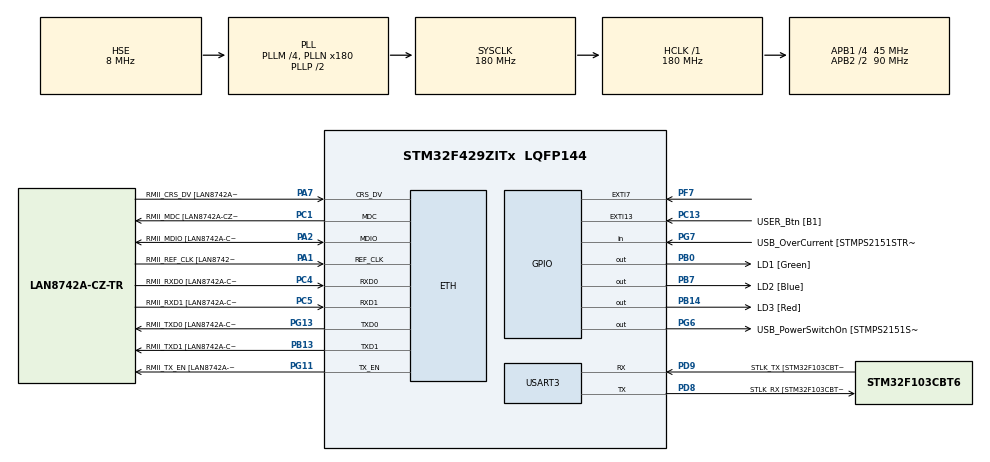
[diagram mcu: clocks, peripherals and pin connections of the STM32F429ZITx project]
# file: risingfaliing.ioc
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ETH.MediaInterface=HAL_ETH_RMII_MODE
ETH.PHY_Name=LAN8742A_PHY_ADDRESS
ETH.PHY_Value=0
ETH.PhyAddress=0
Mcu.Family=STM32F4
Mcu.Name=STM32F429ZITx
Mcu.Package=LQFP144
NVIC.EXTI9_5_IRQn=true\:0\:0\:false\:true\:true\:1\:true\:true\:true
NVIC.PriorityGroup=NVIC_PRIORITYGROUP_4
PA1.GPIO_Label=RMII_REF_CLK [LAN8742A-CZ-TR_REFCLK0]
PA1.Mode=RMII
PA1.Signal=ETH_REF_CLK
PA10.GPIO_Label=USB_ID
PA10.Signal=USB_OTG_FS_ID
PA11.GPIO_Label=USB_DM
PA11.Signal=USB_OTG_FS_DM
PA12.GPIO_Label=USB_DP
PA12.Signal=USB_OTG_FS_DP
PA13.GPIO_Label=TMS
PA13.Mode=Serial_Wire
PA13.Signal=SYS_JTMS-SWDIO
PA14.GPIO_Label=TCK
PA14.Mode=Serial_Wire
PA14.Signal=SYS_JTCK-SWCLK
PA2.GPIO_Label=RMII_MDIO [LAN8742A-CZ-TR_MDIO]
PA2.Mode=RMII
PA2.Signal=ETH_MDIO
PA7.GPIO_Label=RMII_CRS_DV [LAN8742A-CZ-TR_CRS_DV]
PA7.Mode=RMII
PA7.Signal=ETH_CRS_DV
PA8.GPIO_Label=USB_SOF [TP1]
PA8.Signal=USB_OTG_FS_SOF
PA9.GPIO_Label=USB_VBUS
PA9.Signal=USB_OTG_FS_VBUS
PB0.GPIO_Label=LD1 [Green]
PB0.Signal=GPIO_Output
PB13.GPIO_Label=RMII_TXD1 [LAN8742A-CZ-TR_TXD1]
PB13.Mode=RMII
PB13.Signal=ETH_TXD1
PB14.GPIO_Label=LD3 [Red]
PB14.Signal=GPIO_Output
PB7.GPIO_Label=LD2 [Blue]
PB7.Signal=GPIO_Output
PC1.GPIO_Label=RMII_MDC [LAN8742A-CZ-TR_MDC]
PC1.Mode=RMII
PC1.Signal=ETH_MDC
PC13.GPIO_Label=USER_Btn [B1]
PC13.GPIO_ModeDefaultEXTI=GPIO_MODE_IT_RISING
PC13.Signal=GPXTI13
PC14/OSC32_IN.Mode=LSE-External-Oscillator
PC14/OSC32_IN.Signal=RCC_OSC32_IN
PC15/OSC32_OUT.Mode=LSE-External-Oscillator
PC15/OSC32_OUT.Signal=RCC_OSC32_OUT
PC4.GPIO_Label=RMII_RXD0 [LAN8742A-CZ-TR_RXD0]
PC4.Mode=RMII
PC4.Signal=ETH_RXD0
PC5.GPIO_Label=RMII_RXD1 [LAN8742A-CZ-TR_RXD1]
PC5.Mode=RMII
PC5.Signal=ETH_RXD1
PD8.GPIO_Label=STLK_RX [STM32F103CBT6_PA3]
PD8.Mode=Asynchronous
PD8.Signal=USART3_TX
PD9.GPIO_Label=STLK_TX [STM32F103CBT6_PA2]
PD9.Mode=Asynchronous
PD9.Signal=USART3_RX
PF7.GPIO_ModeDefaultEXTI=GPIO_MODE_IT_RISING_FALLING
PF7.GPIO_PuPd=GPIO_PULLUP
PF7.Signal=GPXTI7
PG11.GPIO_Label=RMII_TX_EN [LAN8742A-CZ-TR_TXEN]
PG11.Mode=RMII
PG11.Signal=ETH_TX_EN
PG13.GPIO_Label=RMII_TXD0 [LAN8742A-CZ-TR_TXD0]
PG13.Mode=RMII
PG13.Signal=ETH_TXD0
PG6.GPIO_Label=USB_PowerSwitchOn [STMPS2151STR_EN]
PG6.Signal=GPIO_Output
PG7.GPIO_Label=USB_OverCurrent [STMPS2151STR_FAULT]
PG7.Signal=GPIO_Input
PH0/OSC_IN.GPIO_Label=MCO [STM32F103CBT6_PA8]
PH0/OSC_IN.Mode=HSE-External-Clock-Source
PH0/OSC_IN.Signal=RCC_OSC_IN
PH1/OSC_OUT.Mode=HSE-External-Clock-Source
PH1/OSC_OUT.Signal=RCC_OSC_OUT
ProjectManager.HeapSize=0x200
ProjectManager.StackSize=0x400
ProjectManager.TargetToolchain=STM32CubeIDE
RCC.48MHZClocksFreq_Value=51428571.428571425
RCC.AHBFreq_Value=180000000
RCC.APB1CLKDivider=RCC_HCLK_DIV4
RCC.APB1Freq_Value=45000000
RCC.APB1TimFreq_Value=90000000
RCC.APB2CLKDivider=RCC_HCLK_DIV2
RCC.APB2Freq_Value=90000000
RCC.APB2TimFreq_Value=180000000
RCC.CortexFreq_Value=180000000
RCC.HCLKFreq_Value=180000000
RCC.HSE_VALUE=8000000
RCC.HSI_VALUE=16000000
RCC.PLLM=4
RCC.PLLMUL=RCC_PLL_MUL9
RCC.PLLN=180
RCC.PLLQ=7
RCC.PLLSourceVirtual=RCC_PLLSOURCE_HSE
RCC.PRESCALERUSB=RCC_USBCLKSOURCE_PLL_DIV1_5
RCC.SYSCLKFreq_VALUE=180000000
RCC.SYSCLKSource=RCC_SYSCLKSOURCE_PLLCLK
RCC.SYSCLKSourceVirtual=RCC_SYSCLKSOURCE_PLLCLK
RCC.USBFreq_Value=48000000
RCC.VCOOutputFreq_Value=360000000
USART3.VirtualMode=VM_ASYNC
board=NUCLEO-F429ZI

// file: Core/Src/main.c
/* USER CODE BEGIN Header */
/**
  ******************************************************************************
  * @file           : main.c
  * @brief          : Main program body
  ******************************************************************************
  * @attention
  *
  * Copyright (c) 2023 STMicroelectronics.
  * All rights reserved.
  *
  * This software is licensed under terms that can be found in the LICENSE file
  * in the root directory of this software component.
  * If no LICENSE file comes with this software, it is provided AS-IS.
  *
  ******************************************************************************
  */
/* USER CODE END Header */
#include "main.h"
#include "string.h"
/* USER CODE BEGIN Includes */
#include "stdio.h"
/* USER CODE END Includes */

ETH_TxPacketConfig TxConfig;
ETH_DMADescTypeDef  DMARxDscrTab[ETH_RX_DESC_CNT]; /* Ethernet Rx DMA Descriptors */
ETH_DMADescTypeDef  DMATxDscrTab[ETH_TX_DESC_CNT]; /* Ethernet Tx DMA Descriptors */

ETH_HandleTypeDef heth;

UART_HandleTypeDef huart3;

/* USER CODE BEGIN PV */
int _write(int file, char* ptr, int len)
{
	HAL_UART_Transmit(&huart3, (uint8_t*)ptr, len, 500);
	return len;
}
/* USER CODE END PV */

void SystemClock_Config(void);
static void MX_GPIO_Init(void);
static void MX_ETH_Init(void);
static void MX_USART3_UART_Init(void);
static void MX_NVIC_Init(void);

/* USER CODE BEGIN 0 */
uint32_t ctime, ltime, interval;
uint32_t double_key_cnt;
int tmpcnt, click_flag, level;

enum CLICK_STATE {
	NO_CLICK,
	FIRST_PUSH,
	FIRST_PULL,
	SECOND_PUSH,
	SECOND_PULL
} current_state;
enum CLICK_STATE current_state = NO_CLICK;

void HAL_GPIO_EXTI_Callback(uint16_t GPIO_Pin)
{
	if (GPIO_Pin == GPIO_PIN_7) {
		level = HAL_GPIO_ReadPin(GPIOF, GPIO_PIN_7);
//		ctime = HAL_GetTick();
//		interval = ctime - ltime;
//		ltime = ctime;

//		if (interval < 100) {
//			double_key_cnt++;
//			printf("cnt = %d \t", double_key_cnt);
//		}

//		if (level == 1) {
//			printf("interval = %u", (unsigned int)interval);
//			if (double_key_cnt >= 3) {
//				printf("double~~~~~~~~~\r\n");
//				double_key_cnt = 0;
//			}
//			 if (interval >= 100 && interval <= 200) {
//				printf("One click \r\n");
//				double_key_cnt = 0;
//			}
//			else if (interval >= 700) {
//				printf("long \r\n");
//				double_key_cnt =0;
//			}
//		}
		if (level == 0 && (current_state == NO_CLICK || current_state == SECOND_PULL)) {
			current_state = FIRST_PUSH;
			ctime = HAL_GetTick();
			printf("first push \r\n");
		}
		else if (level == 1 && current_state == FIRST_PUSH) {
			current_state = FIRST_PULL;
			ltime = HAL_GetTick();
			if (ltime - ctime > 1000) {
				printf("Long click~~~~~~~~\r\n");
				current_state = NO_CLICK;
			}
			else {
				printf("first pull \r\n");
			}
		}
		else if (level == 0 && current_state == FIRST_PULL) {
			current_state = SECOND_PUSH;
			printf("second_push \r\n");
		}
		else if (level == 1 && current_state == SECOND_PUSH) {
			current_state = SECOND_PULL;
			printf("second_pull \r\n");
		}

	}
}

/* USER CODE END 0 */

int main(void)
{

  /* MCU Configuration--------------------------------------------------------*/

  /* Reset of all peripherals, Initializes the Flash interface and the Systick. */
  HAL_Init();

  /* Configure the system clock */
  SystemClock_Config();

  /* Initialize all configured peripherals */
  MX_GPIO_Init();
  MX_ETH_Init();
  MX_USART3_UART_Init();

  /* Initialize interrupts */
  MX_NVIC_Init();

  /* Infinite loop */
  /* USER CODE BEGIN WHILE */
  while (1)
  {
	  if (current_state == FIRST_PULL && (HAL_GetTick()-ltime) > 100) {
		  printf("one111111 \r\n");
		  current_state = NO_CLICK;
	  }
	  else if (current_state == SECOND_PUSH && (HAL_GetTick()-ltime) < 100) {
		  printf("doubleeeeeeee \r\n");
		  current_state = NO_CLICK;
	  }

    /* USER CODE END WHILE */

  }
}

void SystemClock_Config(void)
{
  RCC_OscInitTypeDef RCC_OscInitStruct = {0};
  RCC_ClkInitTypeDef RCC_ClkInitStruct = {0};

  /** Configure the main internal regulator output voltage
  */
  __HAL_RCC_PWR_CLK_ENABLE();
  __HAL_PWR_VOLTAGESCALING_CONFIG(PWR_REGULATOR_VOLTAGE_SCALE1);

  /** Initializes the RCC Oscillators according to the specified parameters
  * in the RCC_OscInitTypeDef structure.
  */
  RCC_OscInitStruct.OscillatorType = RCC_OSCILLATORTYPE_HSE;
  RCC_OscInitStruct.HSEState = RCC_HSE_BYPASS;
  RCC_OscInitStruct.PLL.PLLState = RCC_PLL_ON;
  RCC_OscInitStruct.PLL.PLLSource = RCC_PLLSOURCE_HSE;
  RCC_OscInitStruct.PLL.PLLM = 4;
  RCC_OscInitStruct.PLL.PLLN = 180;
  RCC_OscInitStruct.PLL.PLLP = RCC_PLLP_DIV2;
  RCC_OscInitStruct.PLL.PLLQ = 7;
  if (HAL_RCC_OscConfig(&RCC_OscInitStruct) != HAL_OK)
  {
    Error_Handler();
  }

  /** Activate the Over-Drive mode
  */
  if (HAL_PWREx_EnableOverDrive() != HAL_OK)
  {
    Error_Handler();
  }

  /** Initializes the CPU, AHB and APB buses clocks
  */
  RCC_ClkInitStruct.ClockType = RCC_CLOCKTYPE_HCLK|RCC_CLOCKTYPE_SYSCLK
                              |RCC_CLOCKTYPE_PCLK1|RCC_CLOCKTYPE_PCLK2;
  RCC_ClkInitStruct.SYSCLKSource = RCC_SYSCLKSOURCE_PLLCLK;
  RCC_ClkInitStruct.AHBCLKDivider = RCC_SYSCLK_DIV1;
  RCC_ClkInitStruct.APB1CLKDivider = RCC_HCLK_DIV4;
  RCC_ClkInitStruct.APB2CLKDivider = RCC_HCLK_DIV2;

  if (HAL_RCC_ClockConfig(&RCC_ClkInitStruct, FLASH_LATENCY_5) != HAL_OK)
  {
    Error_Handler();
  }
}

/**
  * @brief NVIC Configuration.
  * @retval None
  */
static void MX_NVIC_Init(void)
{
  /* EXTI9_5_IRQn interrupt configuration */
  HAL_NVIC_SetPriority(EXTI9_5_IRQn, 0, 0);
  HAL_NVIC_EnableIRQ(EXTI9_5_IRQn);
}

static void MX_ETH_Init(void)
{

   static uint8_t MACAddr[6];

  heth.Instance = ETH;
  MACAddr[0] = 0x00;
  MACAddr[1] = 0x80;
  MACAddr[2] = 0xE1;
  MACAddr[3] = 0x00;
  MACAddr[4] = 0x00;
  MACAddr[5] = 0x00;
  heth.Init.MACAddr = &MACAddr[0];
  heth.Init.MediaInterface = HAL_ETH_RMII_MODE;
  heth.Init.TxDesc = DMATxDscrTab;
  heth.Init.RxDesc = DMARxDscrTab;
  heth.Init.RxBuffLen = 1524;

  if (HAL_ETH_Init(&heth) != HAL_OK)
  {
    Error_Handler();
  }

  memset(&TxConfig, 0 , sizeof(ETH_TxPacketConfig));
  TxConfig.Attributes = ETH_TX_PACKETS_FEATURES_CSUM | ETH_TX_PACKETS_FEATURES_CRCPAD;
  TxConfig.ChecksumCtrl = ETH_CHECKSUM_IPHDR_PAYLOAD_INSERT_PHDR_CALC;
  TxConfig.CRCPadCtrl = ETH_CRC_PAD_INSERT;

}

static void MX_USART3_UART_Init(void)
{

  huart3.Instance = USART3;
  huart3.Init.BaudRate = 115200;
  huart3.Init.WordLength = UART_WORDLENGTH_8B;
  huart3.Init.StopBits = UART_STOPBITS_1;
  huart3.Init.Parity = UART_PARITY_NONE;
  huart3.Init.Mode = UART_MODE_TX_RX;
  huart3.Init.HwFlowCtl = UART_HWCONTROL_NONE;
  huart3.Init.OverSampling = UART_OVERSAMPLING_16;
  if (HAL_UART_Init(&huart3) != HAL_OK)
  {
    Error_Handler();
  }

}

static void MX_GPIO_Init(void)
{
  GPIO_InitTypeDef GPIO_InitStruct = {0};

  /* GPIO Ports Clock Enable */
  __HAL_RCC_GPIOC_CLK_ENABLE();
  __HAL_RCC_GPIOF_CLK_ENABLE();
  __HAL_RCC_GPIOH_CLK_ENABLE();
  __HAL_RCC_GPIOA_CLK_ENABLE();
  __HAL_RCC_GPIOB_CLK_ENABLE();
  __HAL_RCC_GPIOD_CLK_ENABLE();
  __HAL_RCC_GPIOG_CLK_ENABLE();

  /*Configure GPIO pin Output Level */
  HAL_GPIO_WritePin(GPIOB, LD1_Pin|LD3_Pin|LD2_Pin, GPIO_PIN_RESET);

  /*Configure GPIO pin Output Level */
  HAL_GPIO_WritePin(USB_PowerSwitchOn_GPIO_Port, USB_PowerSwitchOn_Pin, GPIO_PIN_RESET);

  /*Configure GPIO pin : USER_Btn_Pin */
  GPIO_InitStruct.Pin = USER_Btn_Pin;
  GPIO_InitStruct.Mode = GPIO_MODE_IT_RISING;
  GPIO_InitStruct.Pull = GPIO_NOPULL;
  HAL_GPIO_Init(USER_Btn_GPIO_Port, &GPIO_InitStruct);

  /*Configure GPIO pin : PF7 */
  GPIO_InitStruct.Pin = GPIO_PIN_7;
  GPIO_InitStruct.Mode = GPIO_MODE_IT_RISING_FALLING;
  GPIO_InitStruct.Pull = GPIO_PULLUP;
  HAL_GPIO_Init(GPIOF, &GPIO_InitStruct);

  /*Configure GPIO pins : LD1_Pin LD3_Pin LD2_Pin */
  GPIO_InitStruct.Pin = LD1_Pin|LD3_Pin|LD2_Pin;
  GPIO_InitStruct.Mode = GPIO_MODE_OUTPUT_PP;
  GPIO_InitStruct.Pull = GPIO_NOPULL;
  GPIO_InitStruct.Speed = GPIO_SPEED_FREQ_LOW;
  HAL_GPIO_Init(GPIOB, &GPIO_InitStruct);

  /*Configure GPIO pin : USB_PowerSwitchOn_Pin */
  GPIO_InitStruct.Pin = USB_PowerSwitchOn_Pin;
  GPIO_InitStruct.Mode = GPIO_MODE_OUTPUT_PP;
  GPIO_InitStruct.Pull = GPIO_NOPULL;
  GPIO_InitStruct.Speed = GPIO_SPEED_FREQ_LOW;
  HAL_GPIO_Init(USB_PowerSwitchOn_GPIO_Port, &GPIO_InitStruct);

  /*Configure GPIO pin : USB_OverCurrent_Pin */
  GPIO_InitStruct.Pin = USB_OverCurrent_Pin;
  GPIO_InitStruct.Mode = GPIO_MODE_INPUT;
  GPIO_InitStruct.Pull = GPIO_NOPULL;
  HAL_GPIO_Init(USB_OverCurrent_GPIO_Port, &GPIO_InitStruct);

  /*Configure GPIO pins : USB_SOF_Pin USB_ID_Pin USB_DM_Pin USB_DP_Pin */
  GPIO_InitStruct.Pin = USB_SOF_Pin|USB_ID_Pin|USB_DM_Pin|USB_DP_Pin;
  GPIO_InitStruct.Mode = GPIO_MODE_AF_PP;
  GPIO_InitStruct.Pull = GPIO_NOPULL;
  GPIO_InitStruct.Speed = GPIO_SPEED_FREQ_VERY_HIGH;
  GPIO_InitStruct.Alternate = GPIO_AF10_OTG_FS;
  HAL_GPIO_Init(GPIOA, &GPIO_InitStruct);

  /*Configure GPIO pin : USB_VBUS_Pin */
  GPIO_InitStruct.Pin = USB_VBUS_Pin;
  GPIO_InitStruct.Mode = GPIO_MODE_INPUT;
  GPIO_InitStruct.Pull = GPIO_NOPULL;
  HAL_GPIO_Init(USB_VBUS_GPIO_Port, &GPIO_InitStruct);

}

void Error_Handler(void)
{
  __disable_irq();
  while (1)
  {
  }
}
